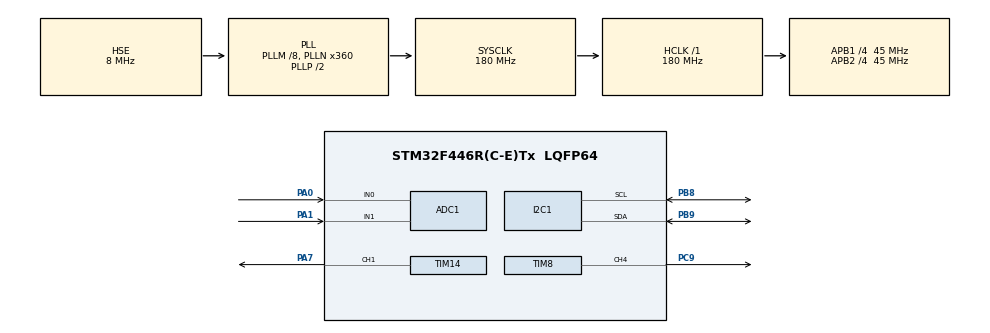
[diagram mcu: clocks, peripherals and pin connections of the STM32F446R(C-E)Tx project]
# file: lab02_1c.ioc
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ADC1.Channel-11\#ChannelRegularConversion=ADC_CHANNEL_0
ADC1.NbrOfConversion=1
ADC1.NbrOfConversionFlag=1
ADC1.Rank-11\#ChannelRegularConversion=1
ADC1.SamplingTime-11\#ChannelRegularConversion=ADC_SAMPLETIME_3CYCLES
ADC1.master=1
I2C1.I2C_Mode=I2C_Fast
Mcu.Family=STM32F4
Mcu.Name=STM32F446R(C-E)Tx
Mcu.Package=LQFP64
NVIC.PriorityGroup=NVIC_PRIORITYGROUP_4
PA0-WKUP.Signal=ADCx_IN0
PA1.Signal=ADCx_IN1
PA13.Mode=Serial_Wire
PA13.Signal=SYS_JTMS-SWDIO
PA14.Mode=Serial_Wire
PA14.Signal=SYS_JTCK-SWCLK
PA7.Signal=S_TIM14_CH1
PB8.Mode=I2C
PB8.Signal=I2C1_SCL
PB9.Mode=I2C
PB9.Signal=I2C1_SDA
PC9.Signal=S_TIM8_CH4
PH0-OSC_IN.Mode=HSE-External-Oscillator
PH0-OSC_IN.Signal=RCC_OSC_IN
PH1-OSC_OUT.Mode=HSE-External-Oscillator
PH1-OSC_OUT.Signal=RCC_OSC_OUT
ProjectManager.HeapSize=0x200
ProjectManager.StackSize=0x400
ProjectManager.TargetToolchain=STM32CubeIDE
RCC.AHBFreq_Value=180000000
RCC.APB1CLKDivider=RCC_HCLK_DIV4
RCC.APB1Freq_Value=45000000
RCC.APB1TimFreq_Value=90000000
RCC.APB2CLKDivider=RCC_HCLK_DIV4
RCC.APB2Freq_Value=45000000
RCC.APB2TimFreq_Value=90000000
RCC.CortexFreq_Value=180000000
RCC.HCLKFreq_Value=180000000
RCC.HSE_VALUE=8000000
RCC.PLLM=8
RCC.PLLN=360
RCC.PLLSourceVirtual=RCC_PLLSOURCE_HSE
RCC.SYSCLKFreq_VALUE=180000000
RCC.SYSCLKSource=RCC_SYSCLKSOURCE_PLLCLK
RCC.USBFreq_Value=180000000
RCC.VCOOutputFreq_Value=360000000
SH.ADCx_IN0.0=ADC1_IN0,IN0
SH.ADCx_IN1.0=ADC1_IN1,IN1
SH.S_TIM14_CH1.0=TIM14_CH1,PWM Generation1 CH1
SH.S_TIM8_CH4.0=TIM8_CH4,PWM Generation4 CH4
TIM14.AutoReloadPreload=TIM_AUTORELOAD_PRELOAD_ENABLE
TIM14.Channel=TIM_CHANNEL_1
TIM14.Period=10000-1
TIM14.Prescaler=180-1
TIM8.AutoReloadPreload=TIM_AUTORELOAD_PRELOAD_ENABLE
TIM8.Channel-PWM\ Generation4\ CH4=TIM_CHANNEL_4
TIM8.Period=10000-1
TIM8.Prescaler=180-1
VP_TIM14_VS_ClockSourceINT.Mode=Enable_Timer
VP_TIM8_VS_ClockSourceINT.Mode=Internal
board=custom

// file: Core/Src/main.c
/* USER CODE BEGIN Header */
/**
  ******************************************************************************
  * @file           : main.c
  * @brief          : Main program body
  ******************************************************************************
  * @attention
  *
  * Copyright (c) 2026 STMicroelectronics.
  * All rights reserved.
  *
  * This software is licensed under terms that can be found in the LICENSE file
  * in the root directory of this software component.
  * If no LICENSE file comes with this software, it is provided AS-IS.
  *
  ******************************************************************************
  */
/* USER CODE END Header */
#include "main.h"

/* USER CODE BEGIN Includes */
#include <stdio.h>
#include <string.h>
#include "ssd1306.h"
/* USER CODE END Includes */

ADC_HandleTypeDef hadc1;

I2C_HandleTypeDef hi2c1;

TIM_HandleTypeDef htim8;
TIM_HandleTypeDef htim14;

/* USER CODE BEGIN PV */
int servoPWM1 = 50;
int servoPWM2 = 50;
/* USER CODE END PV */

void SystemClock_Config(void);
static void MX_GPIO_Init(void);
static void MX_ADC1_Init(void);
static void MX_TIM8_Init(void);
static void MX_TIM14_Init(void);
static void MX_I2C1_Init(void);

/* USER CODE BEGIN 0 */
void setADCChannel(ADC_HandleTypeDef *hadc, uint32_t chan){
	ADC_ChannelConfTypeDef sConfig = {0};

	sConfig.Channel = chan;
	sConfig.Rank = 1;
	sConfig.SamplingTime = ADC_SAMPLETIME_3CYCLES;
	if (HAL_ADC_ConfigChannel(&hadc1, &sConfig) != HAL_OK){
		Error_Handler();
	}
}

void setPWM(int no,int pwm){
	if(pwm<0) pwm=0;
	if(pwm>99) pwm=99;
	if(no) // right servo
		TIM14->CCR1 = 500+pwm*5;
	else   // left servo
		TIM8->CCR4 = 500+pwm*5;
}
/* USER CODE END 0 */

int main(void)
{

  /* USER CODE BEGIN 1 */
	uint16_t axisX,axisY;
	int x,y;
	char msg[32];
  /* USER CODE END 1 */

  /* MCU Configuration--------------------------------------------------------*/

  /* Reset of all peripherals, Initializes the Flash interface and the Systick. */
  HAL_Init();

  /* Configure the system clock */
  SystemClock_Config();

  /* Initialize all configured peripherals */
  MX_GPIO_Init();
  MX_ADC1_Init();
  MX_TIM8_Init();
  MX_TIM14_Init();
  MX_I2C1_Init();
  /* USER CODE BEGIN 2 */
  ssd1306_Init();
  setPWM(0,50);
  setPWM(1,50);
  HAL_TIM_PWM_Start(&htim8,TIM_CHANNEL_4);
  HAL_TIM_PWM_Start(&htim14,TIM_CHANNEL_1);
  /* USER CODE END 2 */

  /* Infinite loop */
  /* USER CODE BEGIN WHILE */
  while (1)
  {
	  setADCChannel(&hadc1,ADC_CHANNEL_0);
	  HAL_ADC_Start(&hadc1);
	  HAL_ADC_PollForConversion(&hadc1, HAL_MAX_DELAY);
	  axisX = HAL_ADC_GetValue(&hadc1);

	  setADCChannel(&hadc1,ADC_CHANNEL_1);
	  HAL_ADC_Start(&hadc1);
	  HAL_ADC_PollForConversion(&hadc1, HAL_MAX_DELAY);
	  axisY = HAL_ADC_GetValue(&hadc1);

	  //normalize value from 0 to 4095 to -50 to 50
	  x = ((int)axisX-2047)/41;
	  y = ((int)axisY-2047)/41;

	  servoPWM1 = (-x - y)+50;
	  servoPWM2 = (-x + y)+50;

	  if(servoPWM1<0)  servoPWM1 = 0;
	  if(servoPWM1>99) servoPWM1 = 99;
	  if(servoPWM2<0)  servoPWM2 = 0;
	  if(servoPWM2>99) servoPWM2 = 99;

	  ssd1306_Fill(Black);
	  ssd1306_SetCursor(0,0);
	  sprintf(msg,"  X:%5d (%.4X)",axisX,axisX);
	  ssd1306_WriteString(msg,Font_7x10,White);
	  ssd1306_SetCursor(0,10);
	  sprintf(msg,"  Y:%5d (%.4X)",axisY,axisY);
	  ssd1306_WriteString(msg,Font_7x10,White);
	  ssd1306_SetCursor(0,20);
	  sprintf(msg,"%5d  %d",servoPWM1,servoPWM2);
	  ssd1306_WriteString(msg,Font_7x10,White);
	  ssd1306_UpdateScreen();

	  setPWM(0,servoPWM1);
	  setPWM(1,servoPWM2);
	  HAL_Delay(10);
    /* USER CODE END WHILE */

  }
}

void SystemClock_Config(void)
{
  RCC_OscInitTypeDef RCC_OscInitStruct = {0};
  RCC_ClkInitTypeDef RCC_ClkInitStruct = {0};

  /** Configure the main internal regulator output voltage
  */
  __HAL_RCC_PWR_CLK_ENABLE();
  __HAL_PWR_VOLTAGESCALING_CONFIG(PWR_REGULATOR_VOLTAGE_SCALE1);

  /** Initializes the RCC Oscillators according to the specified parameters
  * in the RCC_OscInitTypeDef structure.
  */
  RCC_OscInitStruct.OscillatorType = RCC_OSCILLATORTYPE_HSE;
  RCC_OscInitStruct.HSEState = RCC_HSE_ON;
  RCC_OscInitStruct.PLL.PLLState = RCC_PLL_ON;
  RCC_OscInitStruct.PLL.PLLSource = RCC_PLLSOURCE_HSE;
  RCC_OscInitStruct.PLL.PLLM = 8;
  RCC_OscInitStruct.PLL.PLLN = 360;
  RCC_OscInitStruct.PLL.PLLP = RCC_PLLP_DIV2;
  RCC_OscInitStruct.PLL.PLLQ = 2;
  RCC_OscInitStruct.PLL.PLLR = 2;
  if (HAL_RCC_OscConfig(&RCC_OscInitStruct) != HAL_OK)
  {
    Error_Handler();
  }

  /** Activate the Over-Drive mode
  */
  if (HAL_PWREx_EnableOverDrive() != HAL_OK)
  {
    Error_Handler();
  }

  /** Initializes the CPU, AHB and APB buses clocks
  */
  RCC_ClkInitStruct.ClockType = RCC_CLOCKTYPE_HCLK|RCC_CLOCKTYPE_SYSCLK
                              |RCC_CLOCKTYPE_PCLK1|RCC_CLOCKTYPE_PCLK2;
  RCC_ClkInitStruct.SYSCLKSource = RCC_SYSCLKSOURCE_PLLCLK;
  RCC_ClkInitStruct.AHBCLKDivider = RCC_SYSCLK_DIV1;
  RCC_ClkInitStruct.APB1CLKDivider = RCC_HCLK_DIV4;
  RCC_ClkInitStruct.APB2CLKDivider = RCC_HCLK_DIV4;

  if (HAL_RCC_ClockConfig(&RCC_ClkInitStruct, FLASH_LATENCY_5) != HAL_OK)
  {
    Error_Handler();
  }
}

static void MX_ADC1_Init(void)
{

  ADC_ChannelConfTypeDef sConfig = {0};

  /** Configure the global features of the ADC (Clock, Resolution, Data Alignment and number of conversion)
  */
  hadc1.Instance = ADC1;
  hadc1.Init.ClockPrescaler = ADC_CLOCK_SYNC_PCLK_DIV2;
  hadc1.Init.Resolution = ADC_RESOLUTION_12B;
  hadc1.Init.ScanConvMode = DISABLE;
  hadc1.Init.ContinuousConvMode = DISABLE;
  hadc1.Init.DiscontinuousConvMode = DISABLE;
  hadc1.Init.ExternalTrigConvEdge = ADC_EXTERNALTRIGCONVEDGE_NONE;
  hadc1.Init.ExternalTrigConv = ADC_SOFTWARE_START;
  hadc1.Init.DataAlign = ADC_DATAALIGN_RIGHT;
  hadc1.Init.NbrOfConversion = 1;
  hadc1.Init.DMAContinuousRequests = DISABLE;
  hadc1.Init.EOCSelection = ADC_EOC_SINGLE_CONV;
  if (HAL_ADC_Init(&hadc1) != HAL_OK)
  {
    Error_Handler();
  }

  /** Configure for the selected ADC regular channel its corresponding rank in the sequencer and its sample time.
  */
  sConfig.Channel = ADC_CHANNEL_0;
  sConfig.Rank = 1;
  sConfig.SamplingTime = ADC_SAMPLETIME_3CYCLES;
  if (HAL_ADC_ConfigChannel(&hadc1, &sConfig) != HAL_OK)
  {
    Error_Handler();
  }

}

static void MX_I2C1_Init(void)
{

  hi2c1.Instance = I2C1;
  hi2c1.Init.ClockSpeed = 400000;
  hi2c1.Init.DutyCycle = I2C_DUTYCYCLE_2;
  hi2c1.Init.OwnAddress1 = 0;
  hi2c1.Init.AddressingMode = I2C_ADDRESSINGMODE_7BIT;
  hi2c1.Init.DualAddressMode = I2C_DUALADDRESS_DISABLE;
  hi2c1.Init.OwnAddress2 = 0;
  hi2c1.Init.GeneralCallMode = I2C_GENERALCALL_DISABLE;
  hi2c1.Init.NoStretchMode = I2C_NOSTRETCH_DISABLE;
  if (HAL_I2C_Init(&hi2c1) != HAL_OK)
  {
    Error_Handler();
  }

}

static void MX_TIM8_Init(void)
{

  TIM_ClockConfigTypeDef sClockSourceConfig = {0};
  TIM_MasterConfigTypeDef sMasterConfig = {0};
  TIM_OC_InitTypeDef sConfigOC = {0};
  TIM_BreakDeadTimeConfigTypeDef sBreakDeadTimeConfig = {0};

  htim8.Instance = TIM8;
  htim8.Init.Prescaler = 180-1;
  htim8.Init.CounterMode = TIM_COUNTERMODE_UP;
  htim8.Init.Period = 10000-1;
  htim8.Init.ClockDivision = TIM_CLOCKDIVISION_DIV1;
  htim8.Init.RepetitionCounter = 0;
  htim8.Init.AutoReloadPreload = TIM_AUTORELOAD_PRELOAD_ENABLE;
  if (HAL_TIM_Base_Init(&htim8) != HAL_OK)
  {
    Error_Handler();
  }
  sClockSourceConfig.ClockSource = TIM_CLOCKSOURCE_INTERNAL;
  if (HAL_TIM_ConfigClockSource(&htim8, &sClockSourceConfig) != HAL_OK)
  {
    Error_Handler();
  }
  if (HAL_TIM_PWM_Init(&htim8) != HAL_OK)
  {
    Error_Handler();
  }
  sMasterConfig.MasterOutputTrigger = TIM_TRGO_RESET;
  sMasterConfig.MasterSlaveMode = TIM_MASTERSLAVEMODE_DISABLE;
  if (HAL_TIMEx_MasterConfigSynchronization(&htim8, &sMasterConfig) != HAL_OK)
  {
    Error_Handler();
  }
  sConfigOC.OCMode = TIM_OCMODE_PWM1;
  sConfigOC.Pulse = 0;
  sConfigOC.OCPolarity = TIM_OCPOLARITY_HIGH;
  sConfigOC.OCFastMode = TIM_OCFAST_DISABLE;
  sConfigOC.OCIdleState = TIM_OCIDLESTATE_RESET;
  sConfigOC.OCNIdleState = TIM_OCNIDLESTATE_RESET;
  if (HAL_TIM_PWM_ConfigChannel(&htim8, &sConfigOC, TIM_CHANNEL_4) != HAL_OK)
  {
    Error_Handler();
  }
  sBreakDeadTimeConfig.OffStateRunMode = TIM_OSSR_DISABLE;
  sBreakDeadTimeConfig.OffStateIDLEMode = TIM_OSSI_DISABLE;
  sBreakDeadTimeConfig.LockLevel = TIM_LOCKLEVEL_OFF;
  sBreakDeadTimeConfig.DeadTime = 0;
  sBreakDeadTimeConfig.BreakState = TIM_BREAK_DISABLE;
  sBreakDeadTimeConfig.BreakPolarity = TIM_BREAKPOLARITY_HIGH;
  sBreakDeadTimeConfig.AutomaticOutput = TIM_AUTOMATICOUTPUT_DISABLE;
  if (HAL_TIMEx_ConfigBreakDeadTime(&htim8, &sBreakDeadTimeConfig) != HAL_OK)
  {
    Error_Handler();
  }
  HAL_TIM_MspPostInit(&htim8);

}

static void MX_TIM14_Init(void)
{

  TIM_OC_InitTypeDef sConfigOC = {0};

  htim14.Instance = TIM14;
  htim14.Init.Prescaler = 180-1;
  htim14.Init.CounterMode = TIM_COUNTERMODE_UP;
  htim14.Init.Period = 10000-1;
  htim14.Init.ClockDivision = TIM_CLOCKDIVISION_DIV1;
  htim14.Init.AutoReloadPreload = TIM_AUTORELOAD_PRELOAD_ENABLE;
  if (HAL_TIM_Base_Init(&htim14) != HAL_OK)
  {
    Error_Handler();
  }
  if (HAL_TIM_PWM_Init(&htim14) != HAL_OK)
  {
    Error_Handler();
  }
  sConfigOC.OCMode = TIM_OCMODE_PWM1;
  sConfigOC.Pulse = 0;
  sConfigOC.OCPolarity = TIM_OCPOLARITY_HIGH;
  sConfigOC.OCFastMode = TIM_OCFAST_DISABLE;
  if (HAL_TIM_PWM_ConfigChannel(&htim14, &sConfigOC, TIM_CHANNEL_1) != HAL_OK)
  {
    Error_Handler();
  }
  HAL_TIM_MspPostInit(&htim14);

}

static void MX_GPIO_Init(void)
{

  /* GPIO Ports Clock Enable */
  __HAL_RCC_GPIOH_CLK_ENABLE();
  __HAL_RCC_GPIOA_CLK_ENABLE();
  __HAL_RCC_GPIOC_CLK_ENABLE();
  __HAL_RCC_GPIOB_CLK_ENABLE();

}

void Error_Handler(void)
{
  __disable_irq();
  while (1)
  {
  }
}
